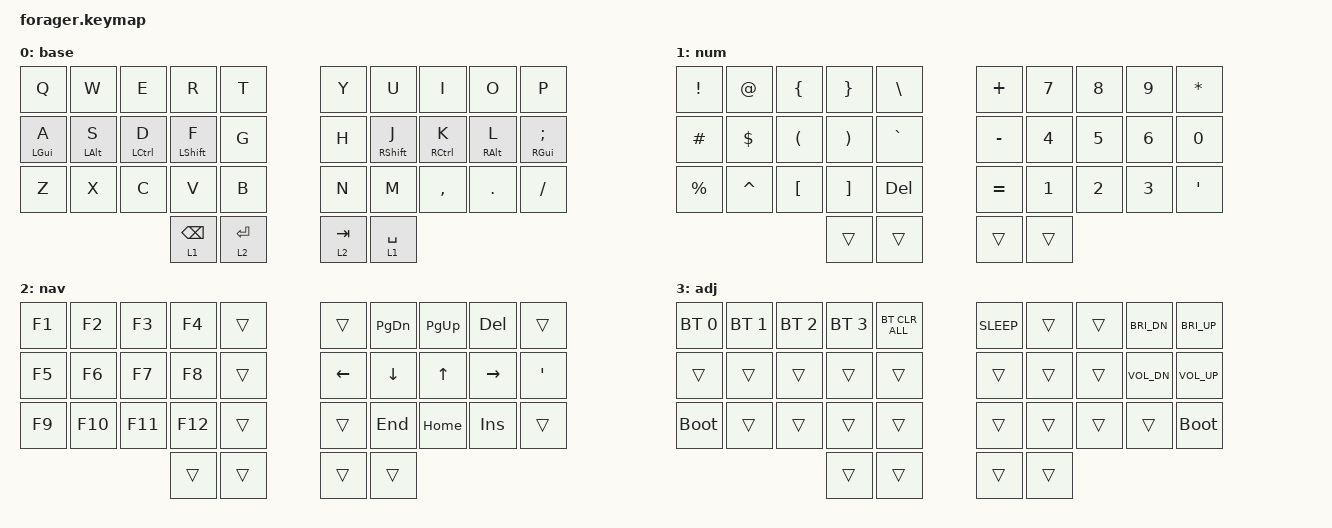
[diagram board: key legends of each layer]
#include <behaviors.dtsi>
#include <dt-bindings/zmk/bt.h>
#include <dt-bindings/zmk/keys.h>

#define BASE 0
#define NAV  1
#define SYM  2
#define ADJ  3

#define AS(keycode) &as LS(keycode) keycode     // Autoshift Macro

#define MEH LS(LC(LALT))

/ {
    behaviors {
        as: auto_shift {
            compatible = "zmk,behavior-hold-tap";
            #binding-cells = <2>;

            // quick_tap_ms = <0>;

            require-prior-idle-ms = <100>;
            flavor = "tap-preferred";
            bindings = <&kp>, <&kp>;

            tapping-term-ms = <250>;
        };

        ht: hold_tap {
            compatible = "zmk,behavior-hold-tap";
            #binding-cells = <2>;
            flavor = "balanced";
            bindings = <&kp>, <&kp>;

            tapping-term-ms = <200>;
        };

        sabk: shift_to_alt_backspace {
            compatible = "zmk,behavior-mod-morph";
            #binding-cells = <0>;
            bindings = <&kp BSPC>, <&kp LA(BSPC)>;

            mods = <(MOD_LSFT|MOD_RSFT)>;
        };

        smart_shift: smart_shift {
            compatible = "zmk,behavior-mod-morph";
            #binding-cells = <0>;
            bindings = <&sk LSHFT>, <&caps_word>;

            mods = <(MOD_LSFT|MOD_RSFT)>;
        };

        sym_bspc: left_thumb_hold_tap {
            compatible = "zmk,behavior-hold-tap";
            #binding-cells = <2>;
            flavor = "tap-preferred";
            tapping-term-ms = <150>;
            quick-tap-ms = <200>;
            bindings = <&mo>, <&sabk>;
        };

        lhm: left_homerow_mods {
            compatible = "zmk,behavior-hold-tap";
            #binding-cells = <2>;
            flavor = "balanced";
            tapping-term-ms = <280>;
            quick-tap-ms = <175>;
            require-prior-idle-ms = <150>;
            bindings = <&kp>, <&kp>;

            hold-trigger-key-positions = <5 6 7 8 9 15 16 17 18 19 25 26 27 28 29 30 31 32 33>;
        };

        rhm: right_homerow_mods {
            compatible = "zmk,behavior-hold-tap";
            #binding-cells = <2>;
            flavor = "balanced";
            tapping-term-ms = <280>;
            quick-tap-ms = <175>;
            require-prior-idle-ms = <150>;
            bindings = <&kp>, <&kp>;

            hold-trigger-key-positions = <0 1 2 3 4 10 11 12 13 14 20 21 22 23 24 30 31 32 33>;
        };

        hm: homerow_mods {
            compatible = "zmk,behavior-hold-tap";
            label = "HOMEROW_MODS";
            bindings = <&kp>, <&kp>;

            #binding-cells = <2>;
            tapping-term-ms = <160>;
            quick-tap-ms = <0>;
            flavor = "tap-preferred";
        };

        hr: homerow_mods_ring_finger {
            compatible = "zmk,behavior-hold-tap";
            label = "HOMEROW_MODS_RING_FINGER";
            bindings = <&kp>, <&kp>;

            #binding-cells = <2>;
            tapping-term-ms = <190>;
            quick-tap-ms = <0>;
            flavor = "tap-preferred";
        };

        hp: homerow_mods_pinky_finger {
            compatible = "zmk,behavior-hold-tap";
            label = "HOMEROW_MODS_PINKY_FINGER";
            bindings = <&kp>, <&kp>;

            #binding-cells = <2>;
            tapping-term-ms = <220>;
            require-prior-idle-ms = <0>;
            flavor = "tap-preferred";
        };

        tm: thumb_mods {
            compatible = "zmk,behavior-hold-tap";
            label = "THUMB_MODS";
            bindings = <&kp>, <&kp>;

            #binding-cells = <2>;
            tapping-term-ms = <160>;
            quick-tap-ms = <160>;
            flavor = "tap-preferred";
        };

        lh: layer_hold {
            compatible = "zmk,behavior-hold-tap";
            label = "LAYER_HOLD";
            bindings = <&mo>, <&kp>;

            #binding-cells = <2>;
            tapping-term-ms = <160>;
            quick-tap-ms = <160>;
            flavor = "tap-preferred";
        };
    };

    conditional_layers {
        compatible = "zmk,conditional-layers";

        tri_layer {
            if-layers = <1 2>;
            then-layer = <3>;
        };
    };

    combos {
        compatible = "zmk,combos";

        esc {
            bindings = <&kp ESCAPE>;
            key-positions = <16 17>;
            layers = <0>;
            timeout-ms = <200>;
        };

        boot-left {
            bindings = <&bootloader>;
            key-positions = <14 4>;
            timeout-ms = <200>;
            layers = <2>;
        };

        boot-right {
            bindings = <&bootloader>;
            key-positions = <5 15>;
            timeout-ms = <200>;
            layers = <2>;
        };

        del {
            bindings = <&kp DEL>;
            key-positions = <7 8>;
            timeout-ms = <200>;
            layers = <0>;
        };

        esc-2 {
            bindings = <&kp ESCAPE>;
            key-positions = <1 2>;
            timeout-ms = <200>;
            layers = <0>;
        };

        combo_caps {
            bindings = <&caps_word>;
            key-positions = <13 16>;
            timeout-ms = <50>;
            layers = <0>;
        };

        undo {
            bindings = <&kp LG(Z)>;
            key-positions = <20 21>;
            timeout-ms = <100>;
            layers = <0>;
        };

        cut {
            bindings = <&kp LG(X)>;
            key-positions = <20 22>;
            timeout-ms = <100>;
            layers = <0>;
        };

        copy {
            bindings = <&kp LG(C)>;
            key-positions = <22 21>;
            timeout-ms = <100>;
            layers = <0>;
        };

        paste {
            bindings = <&kp LG(V)>;
            key-positions = <22 23>;
            timeout-ms = <100>;
            layers = <0>;
        };

        select-all {
            bindings = <&kp LG(A)>;
            key-positions = <23 20>;
            timeout-ms = <100>;
            layers = <0>;
        };
    };

    keymap {
        compatible = "zmk,keymap";

        base {
            bindings = <
  &kp Q           &kp W           &kp E               &kp R             &kp T          &kp Y      &kp U              &kp I                &kp O            &kp P
  &hp LEFT_GUI A  &hr LEFT_ALT S  &hm LEFT_CONTROL D  &hm LEFT_SHIFT F  &kp G          &kp H      &hm RIGHT_SHIFT J  &hm RIGHT_CONTROL K  &hr RIGHT_ALT L  &hp RIGHT_GUI SEMICOLON
  &kp Z           &kp X           &kp C               &kp V             &kp B          &kp N      &kp M              &kp COMMA            &kp DOT          &kp FSLH
                                                      &lt 1 BACKSPACE   &lt 2 ENTER    &lt 2 TAB  &lt 1 SPACE
            >;
        };

        num {
            bindings = <
  &kp EXCL     &kp AT_SIGN  &kp LEFT_BRACE        &kp RIGHT_BRACE        &kp BACKSLASH    &kp PLUS   &kp N7  &kp N8  &kp N9  &kp ASTRK
  &kp HASH     &kp DOLLAR   &kp LEFT_PARENTHESIS  &kp RIGHT_PARENTHESIS  &kp GRAVE        &kp MINUS  &kp N4  &kp N5  &kp N6  &kp N0
  &kp PERCENT  &kp CARET    &kp LBKT              &kp RBKT               &kp DEL          &kp EQUAL  &kp N1  &kp N2  &kp N3  &kp SINGLE_QUOTE
                                                  &trans                 &trans           &trans     &trans
            >;
        };

        nav {
            bindings = <
  &kp F1  &kp F2   &kp F3   &kp F4   &trans    &trans          &kp PAGE_DOWN   &kp PAGE_UP   &kp DEL    &trans
  &kp F5  &kp F6   &kp F7   &kp F8   &trans    &kp LEFT_ARROW  &kp DOWN_ARROW  &kp UP_ARROW  &kp RIGHT  &kp APOSTROPHE
  &kp F9  &kp F10  &kp F11  &kp F12  &trans    &trans          &kp END         &kp HOME      &kp INS    &trans
                            &trans   &trans    &trans          &trans
            >;
        };

        adj {
            bindings = <
  &bt BT_SEL 0  &bt BT_SEL 1  &bt BT_SEL 2  &bt BT_SEL 3  &bt BT_CLR_ALL    &kp C_SLEEP  &trans  &trans  &kp C_BRI_DN  &kp C_BRI_UP
  &trans        &trans        &trans        &trans        &trans            &trans       &trans  &trans  &kp C_VOL_DN  &kp C_VOL_UP
  &bootloader   &trans        &trans        &trans        &trans            &trans       &trans  &trans  &trans        &bootloader
                                            &trans        &trans            &trans       &trans
            >;
        };
    };
};

&lt {
    // require-prior-idle-ms = <100>;

    tapping-term-ms = <150>;
    quick-tap-ms = <200>;
};

&mt { quick-tap-ms = <200>; };

&sk {
    release-after-ms = <500>;
    quick-release;
};
